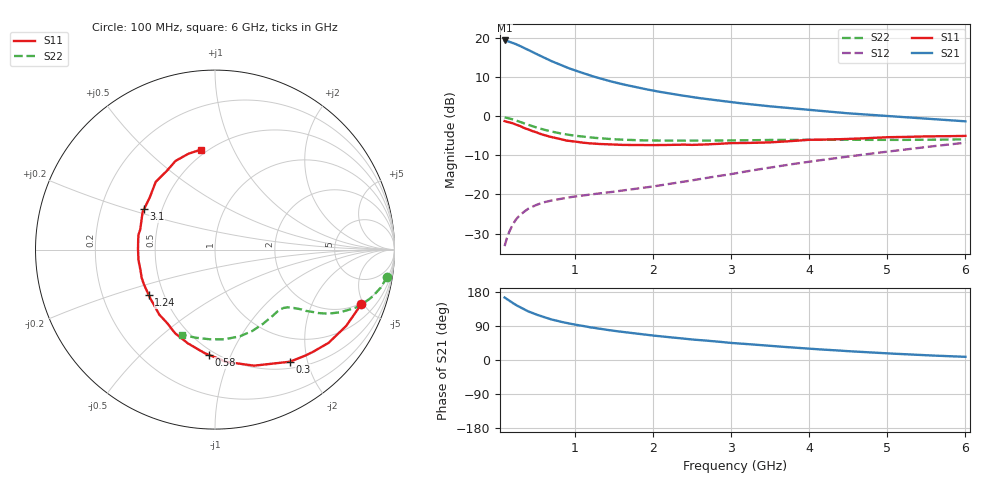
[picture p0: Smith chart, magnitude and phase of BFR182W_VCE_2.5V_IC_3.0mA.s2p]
! Infineon Technologies  Discrete & RF Semiconductors
! BFR182W
! VCE =  2.5 V,  IC =  3.0 mA
! Common Emitter S-Parameters:  Nov 2015
# GHz  S  MA  R  50
!  f  S11  S21  S12  S22
! GHz  MAG  ANG  MAG  ANG  MAG  ANG  MAG  ANG
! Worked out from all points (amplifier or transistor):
!   192 points, 100 MHz to 6 GHz, reference 50 ohm
!   highest |S21| = 19.4 dB at 100 MHz (marker M1)
!   |S21| within 3 dB of that: start of sweep to 460.9 MHz
!   unconditionally stable (mu >= 1): 1.587 GHz to 3.044 GHz
!   at 440 MHz: K = 0.37, MSG = 20.0 dB, |S12| = -23.3 dB
!   at 1.7 GHz: K = 1.03, MAG = 12.3 dB, |S12| = -18.7 dB
!   at 6 GHz: K = 0.76, MSG = 2.7 dB, |S12| = -6.7 dB
!   S11 on the Smith chart (normalised r, x): 100 MHz: 1.93, -4.81; 300 MHz: 0.60, -1.71; 580 MHz: 0.46, -0.83; 1.24 GHz: 0.41, -0.26; 3.1 GHz: 0.40, +0.22; 6 GHz: 0.46, +0.75
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0.1  0.8702 -20.4  9.365 164.9  0.0218 78.3  0.9712 -8.9
0.15  0.8455 -30.2  9.092 157.6  0.0316 73.9  0.9476 -12.9
0.2  0.8187 -39.4  8.762 150.9  0.0405 69.5  0.9167 -16.5
0.26  0.7748 -49.8  8.278 143.5  0.0498 64.4  0.8753 -20.2
0.3  0.7509 -56.3  7.936 138.9  0.0549 61.7  0.8483 -22.4
0.4  0.6823 -71.4  7.116 128.5  0.0655 56.1  0.7811 -26.6
0.5  0.6283 -84.4  6.346 120.3  0.0731 52.0  0.7242 -29.5
0.58  0.5871 -93.4  5.806 114.7  0.0781 50.0  0.6861 -31.1
0.7  0.5438 -106.1  5.098 107.0  0.0837 47.9  0.6397 -32.8
0.8  0.5167 -115.4  4.629 101.9  0.0875 47.1  0.609 -34.0
0.9  0.4887 -123.0  4.206 97.3  0.0911 46.6  0.5847 -34.7
1  0.477 -130.6  3.878 93.3  0.0942 46.8  0.5657 -35.6
1.1  0.4609 -136.9  3.59 90.0  0.097 47.2  0.5508 -36.3
1.24  0.4476 -145.7  3.231 85.0  0.1011 47.9  0.5321 -37.4
1.42  0.4399 -155.2  2.871 79.3  0.1063 49.4  0.5152 -38.7
1.6  0.4311 -163.7  2.592 74.3  0.1121 51.3  0.5034 -40.1
2.08  0.4291 177.9  2.066 63.0  0.1304 56.7  0.4896 -45.1
2.5  0.4313 165.0  1.762 54.1  0.1516 60.7  0.4889 -49.9
3.1  0.455 150.4  1.481 43.7  0.19 63.9  0.493 -58.8
4.1  0.5027 129.2  1.186 28.5  0.2711 63.7  0.5014 -75.9
5.1  0.5426 112.3  0.996 16.5  0.3636 59.1  0.4999 -95.0
6  0.5621 98.2  0.864 8.4  0.4599 52.7  0.5083 -111.2
